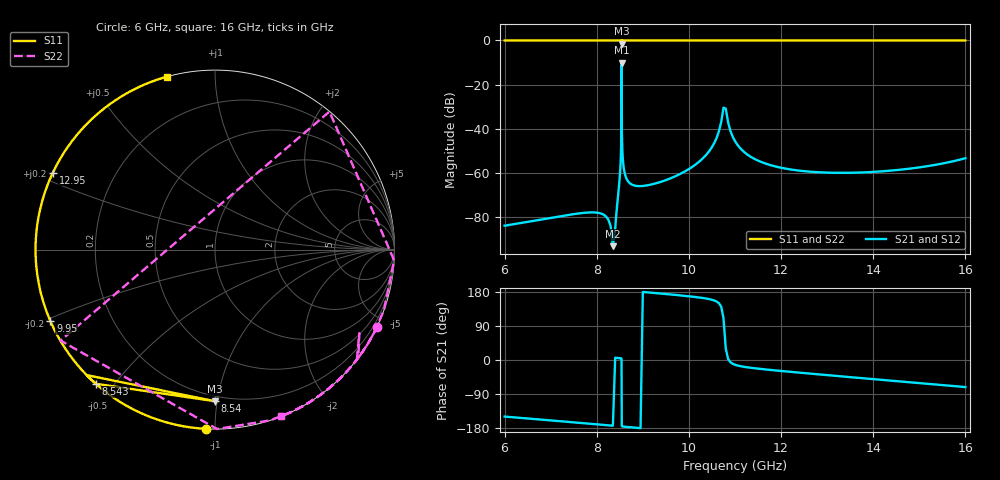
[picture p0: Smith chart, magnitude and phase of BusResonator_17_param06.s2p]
! Sonnet Data File
! From: emgraph Version : 16.54
! From Project: BusResonator_17
! Data is De-embedded
! Data File Written: 08/31/2017 18:33:07
!< HDATE 08/31/2017 16:58:22
!< MDATE 08/31/2017 17:03:00
!< PARAMS
!< BusLengthControl = 2600.0
!< END PARAMS
# GHZ S MA R 50.00000
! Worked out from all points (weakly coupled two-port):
!   798 points, 6 GHz to 16 GHz, reference 50 ohm
!   highest |S21| = -10.05 dB at 8.54 GHz (marker M1); lowest = -93.0 dB at 8.35 GHz (marker M2)
!   lowest |S11| = -1.5 dB at 8.54 GHz (marker M3), VSWR 11.90, Z = 8.36 - j49.4 ohm
!   |S11| at or under -10 dB: nowhere
!   |S22| runs from -0.6 to 0.0 dB; largest |S21 - S12| = 0
!   S11 on the Smith chart (normalised r, x): 6 GHz: 0.00, -0.95; 8.54 GHz: 0.17, -0.99; 8.543 GHz: 0.00, -0.45; 9.95 GHz: 0.00, -0.21; 12.95 GHz: 0.00, +0.23; 16 GHz: 0.00, +0.76
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6  1 -92.8  6.485e-05 -149.3  6.485e-05 -149.3  1 -25.7
!< P1 F=6.0 Eeff=(6.44857038 -2.9736e-5) Z0=(51.7893065 1.19468e-4) R=0.05083541 C=0.00240605
!< P2 F=6.0 Eeff=(6.44857038 -2.9736e-5) Z0=(51.7893065 1.19468e-4) R=0.05083541 C=0.00240605
7.7  1 -120.0  0.000126 -166.7  0.000126 -166.7  1 -33.3
8.35  1 -130.5  2.236e-05 -173.4  2.236e-05 -173.4  1 -36.4
8.449429  1 -132.1  0.0002234 5.5  0.0002234 5.5  1 -36.9
8.512006  1 -133.3  0.001327 4.7  0.001327 4.7  1 -37.2
8.540344  0.845 -89.9  0.3145 -141.8  0.3145 -141.8  0.9292 -30.1
8.543143  0.9996 -131.6  0.01593 -173.9  0.01593 -173.9  0.9998 -37.0
8.54855  0.9999 -133.0  0.005783 -175.0  0.005783 -175.0  1 -37.2
8.551161  1 -133.2  0.004475 -175.1  0.004475 -175.1  1 -37.3
8.574197  1 -133.9  0.001648 -175.7  0.001648 -175.7  1 -37.5
8.664725  1 -135.5  0.0006901 -176.7  0.0006901 -176.7  1 -38.0
9.35  1 -146.7  0.0006165 175.8  0.0006165 175.8  1 -41.7
9.95  1 -156.5  0.001152 168.8  0.001152 168.8  1 -46.0
10.55  1 -166.2  0.004806 157.1  0.004806 157.1  1 -59.6
10.65  1 -167.9  0.008752 150.0  0.008752 150.0  0.9999 -72.0
10.9  1 -172.0  0.009071 -5.7  0.009071 -5.7  0.9999 -19.6
11  1 -173.6  0.005304 -12.5  0.005304 -12.5  1 -31.4
11.55  1 177.4  0.001822 -23.5  0.001822 -23.5  1 -44.4
12.7  1 158.6  0.001066 -36.7  0.001066 -36.7  1 -52.0
12.95  1 154.6  0.001033 -39.4  0.001033 -39.4  1 -53.4
14.35  1 131.9  0.001133 -54.2  0.001133 -54.2  1 -60.2
16  1 105.4  0.002176 -71.5  0.002176 -71.5  1 -68.3
